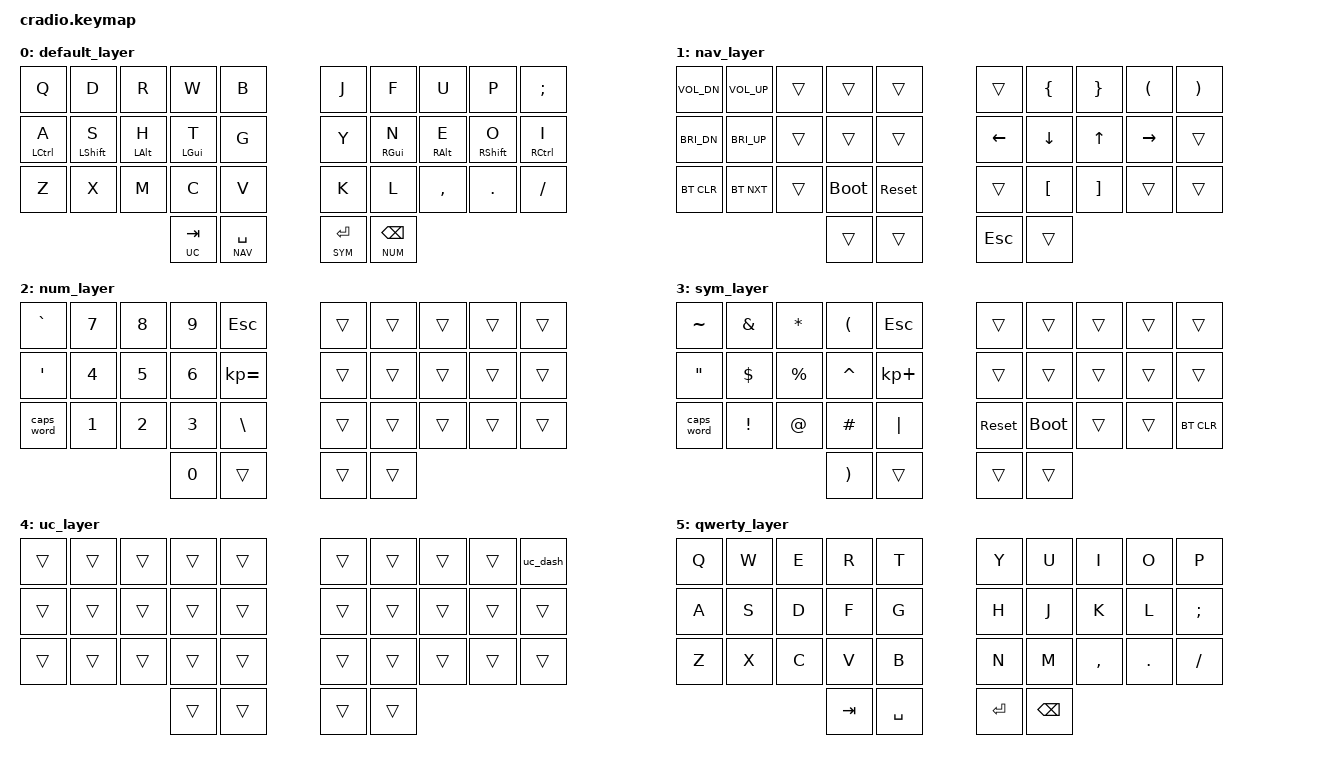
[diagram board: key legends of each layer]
/*
* Copyright (c) 2020 The ZMK Contributors
*
* SPDX-License-Identifier: MIT
*/

#include <behaviors.dtsi>
#include <dt-bindings/zmk/keys.h>
#include <dt-bindings/zmk/bt.h>

#define WORKMAN 0
#define NAV 1
#define NUM 2
#define SYM 3
#define UC 4
#define QWERTY 5

&mt {
    flavor = "tap-preferred";
    tapping_term_ms = <165>;
};

/ {
    /*
        0  1  2  3  4       5  6  7  8  9
        10 11 12 13 14      15 16 17 18 19
        20 21 22 23 24      25 26 27 28 29
                 30 31      32 33

    */
    combos {
        compatible = "zmk,combos";
        combo_esc {
            timeout-ms = <100>;
            key-positions = <0 1>;
            bindings = <&kp ESC>;
        };
        combo_eql {
            timeout-ms = <100>;
            key-positions = <8 9>;
            bindings = <&kp EQL>;
        };
        combo_sqt {
            timeout-ms = <20>;
            key-positions = <7 8>;
            bindings = <&kp SQT>;
        };
        combo_hyphen {
            timeout-ms = <20>;
            key-positions = <6 7>;
            bindings = <&kp MINUS>;
        };
        combo_qwerty {
            timeout-ms = <100>;
            key-positions = <9 19 29>;
            bindings = <&tog QWERTY>;
        };
    };

    macros {
        uc_dash: uc_dash {
            label = "UNICODE_DASH";
            compatible = "zmk,behavior-macro";
            #binding-cells = <0>;
            tap-ms = <0>;
            wait-ms = <0>;
            bindings
                = <&macro_press &kp LCTRL &kp LSHFT>
                , <&macro_tap &kp U>
                , <&macro_release &kp LCTRL &kp LSHFT>
                , <&macro_tap &kp N2 &kp N0 &kp N1 &kp N4 &kp SPC>
                ;
        };
    };

    keymap {
        compatible = "zmk,keymap";
        default_layer {
            bindings = <
                &kp Q        &kp D         &kp R        &kp W        &kp B                &kp J        &kp F        &kp U           &kp P          &kp SCLN
                &mt LCTRL A  &mt LSHIFT S  &mt LALT H   &mt LGUI T   &kp G                 &kp Y        &mt RGUI N   &mt RALT E      &mt RSHIFT O   &mt RCTRL I
                &kp Z        &kp X         &kp M        &kp C        &kp V                 &kp K        &kp L        &kp CMMA        &kp DOT        &kp FSLH
                                                    &lt UC TAB   &lt NAV SPC               &lt SYM RET  &lt NUM BSPC
            >;
        };

        nav_layer {
            bindings = <
                &kp C_VOL_DN   &kp C_VOL_UP   &trans        &trans       &trans            &trans      &kp LBRC   &kp RBRC   &kp LPAR    &kp RPAR
                &kp C_BRI_DN   &kp C_BRI_UP   &trans        &trans       &trans            &kp LEFT    &kp DOWN   &kp UP     &kp RIGHT   &trans
                &bt BT_CLR     &bt BT_NXT     &trans        &bootloader  &sys_reset        &trans      &kp LBKT   &kp RBKT   &trans      &trans
                                                            &trans       &trans            &kp ESC     &trans
            >;
        };

        num_layer {
            bindings = <
                &kp GRAVE      &kp N7      &kp N8       &kp N9     &kp ESC                 &trans      &trans     &trans     &trans    &trans
                &kp SQT        &kp N4      &kp N5       &kp N6     &kp KP_EQUAL            &trans      &trans     &trans     &trans    &trans
                &caps_word     &kp N1      &kp N2       &kp N3     &kp BSLH                &trans      &trans     &trans     &trans    &trans
                                                        &kp N0     &trans                  &trans      &trans
            >;
        };

        sym_layer {
            bindings = <
                &kp TILDE     &kp AMPS     &kp STAR      &kp LPAR     &kp ESC              &trans      &trans        &trans  &trans    &trans
                &kp DQT       &kp DLLR     &kp PRCNT     &kp CARET    &kp KP_PLUS          &trans      &trans        &trans  &trans    &trans
                &caps_word    &kp EXCL     &kp AT        &kp HASH     &kp PIPE             &sys_reset  &bootloader   &trans  &trans    &bt BT_CLR
                                                         &kp RPAR     &trans               &trans      &trans
            >;
        };

        uc_layer {
            bindings = <
                &trans      &trans     &trans     &trans    &trans                         &trans      &trans     &trans     &trans    &uc_dash
                &trans      &trans     &trans     &trans    &trans                         &trans      &trans     &trans     &trans    &trans
                &trans      &trans     &trans     &trans    &trans                         &trans      &trans     &trans     &trans    &trans
                                                  &trans    &trans                         &trans      &trans
            >;
        };

        qwerty_layer {
            bindings = <
                &kp Q       &kp W      &kp E      &kp R     &kp T                          &kp Y     &kp U    &kp I    &kp O     &kp P
                &kp A       &kp S      &kp D      &kp F     &kp G                          &kp H     &kp J    &kp K    &kp L     &kp SCLN
                &kp Z       &kp X      &kp C      &kp V     &kp B                          &kp N     &kp M    &kp CMMA &kp DOT   &kp FSLH
                                                  &kp TAB   &kp SPC                        &kp RET   &kp BSPC
            >;
        };
    };
};
